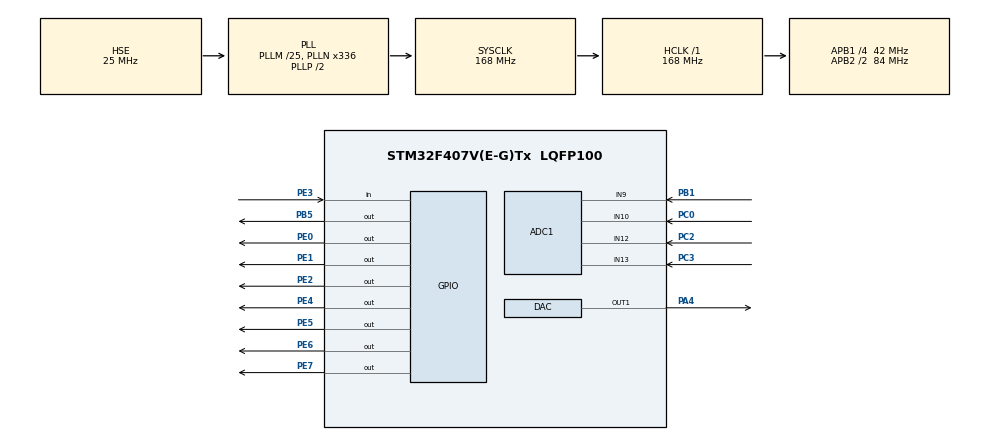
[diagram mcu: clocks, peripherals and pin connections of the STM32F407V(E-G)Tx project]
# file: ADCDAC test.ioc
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ADC1.Channel-0\#ChannelRegularConversion=ADC_CHANNEL_10
ADC1.Channel-1\#ChannelRegularConversion=ADC_CHANNEL_12
ADC1.Channel-2\#ChannelRegularConversion=ADC_CHANNEL_13
ADC1.Channel-3\#ChannelRegularConversion=ADC_CHANNEL_9
ADC1.ContinuousConvMode=ENABLE
ADC1.DMAContinuousRequests=ENABLE
ADC1.NbrOfConversion=4
ADC1.NbrOfConversionFlag=1
ADC1.Rank-0\#ChannelRegularConversion=1
ADC1.Rank-1\#ChannelRegularConversion=2
ADC1.Rank-2\#ChannelRegularConversion=3
ADC1.Rank-3\#ChannelRegularConversion=4
ADC1.SamplingTime-0\#ChannelRegularConversion=ADC_SAMPLETIME_84CYCLES
ADC1.SamplingTime-1\#ChannelRegularConversion=ADC_SAMPLETIME_84CYCLES
ADC1.SamplingTime-2\#ChannelRegularConversion=ADC_SAMPLETIME_84CYCLES
ADC1.SamplingTime-3\#ChannelRegularConversion=ADC_SAMPLETIME_84CYCLES
ADC1.ScanConvMode=ENABLE
ADC1.master=1
Dma.ADC1.0.Direction=DMA_PERIPH_TO_MEMORY
Dma.ADC1.0.FIFOMode=DMA_FIFOMODE_DISABLE
Dma.ADC1.0.Instance=DMA2_Stream0
Dma.ADC1.0.MemDataAlignment=DMA_MDATAALIGN_HALFWORD
Dma.ADC1.0.MemInc=DMA_MINC_ENABLE
Dma.ADC1.0.Mode=DMA_CIRCULAR
Dma.ADC1.0.PeriphDataAlignment=DMA_PDATAALIGN_HALFWORD
Dma.ADC1.0.PeriphInc=DMA_PINC_DISABLE
Dma.ADC1.0.Priority=DMA_PRIORITY_LOW
Dma.Request0=ADC1
Mcu.Family=STM32F4
Mcu.Name=STM32F407V(E-G)Tx
Mcu.Package=LQFP100
NVIC.DMA2_Stream0_IRQn=true\:0\:0\:false\:false\:true\:false\:true\:true
NVIC.PriorityGroup=NVIC_PRIORITYGROUP_4
PA4.Signal=COMP_DAC1_group
PB1.Signal=ADCx_IN9
PB5.Signal=GPIO_Output
PC0.Signal=ADCx_IN10
PC2.Signal=ADCx_IN12
PC3.Signal=ADCx_IN13
PE0.Signal=GPIO_Output
PE1.Signal=GPIO_Output
PE2.Signal=GPIO_Output
PE3.Signal=GPIO_Input
PE4.Signal=GPIO_Output
PE5.Signal=GPIO_Output
PE6.Signal=GPIO_Output
PE7.Signal=GPIO_Output
PH0-OSC_IN.Mode=HSE-External-Oscillator
PH0-OSC_IN.Signal=RCC_OSC_IN
PH1-OSC_OUT.Mode=HSE-External-Oscillator
PH1-OSC_OUT.Signal=RCC_OSC_OUT
ProjectManager.HeapSize=0x200
ProjectManager.StackSize=0x400
ProjectManager.TargetToolchain=STM32CubeIDE
RCC.48MHZClocksFreq_Value=84000000
RCC.AHBFreq_Value=168000000
RCC.APB1CLKDivider=RCC_HCLK_DIV4
RCC.APB1Freq_Value=42000000
RCC.APB1TimFreq_Value=84000000
RCC.APB2CLKDivider=RCC_HCLK_DIV2
RCC.APB2Freq_Value=84000000
RCC.APB2TimFreq_Value=168000000
RCC.CortexFreq_Value=168000000
RCC.HCLKFreq_Value=168000000
RCC.HSE_VALUE=25000000
RCC.HSI_VALUE=16000000
RCC.LSE_VALUE=32768
RCC.PLLM=25
RCC.PLLN=336
RCC.PLLSourceVirtual=RCC_PLLSOURCE_HSE
RCC.SYSCLKFreq_VALUE=168000000
RCC.SYSCLKSource=RCC_SYSCLKSOURCE_PLLCLK
RCC.VCOOutputFreq_Value=336000000
SH.ADCx_IN10.0=ADC1_IN10,IN10
SH.ADCx_IN12.0=ADC1_IN12,IN12
SH.ADCx_IN13.0=ADC1_IN13,IN13
SH.ADCx_IN9.0=ADC1_IN9,IN9
SH.COMP_DAC1_group.0=DAC_OUT1,DAC_OUT1
board=custom

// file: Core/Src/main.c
/* USER CODE BEGIN Header */
/**
  ******************************************************************************
  * @file           : main.c
  * @brief          : Main program body
  ******************************************************************************
  * @attention
  *
  * Copyright (c) 2023 STMicroelectronics.
  * All rights reserved.
  *
  * This software is licensed under terms that can be found in the LICENSE file
  * in the root directory of this software component.
  * If no LICENSE file comes with this software, it is provided AS-IS.
  *
  ******************************************************************************
  */
/* USER CODE END Header */
#include "main.h"
#include "adc.h"
#include "dac.h"
#include "dma.h"
#include "gpio.h"

/* USER CODE BEGIN Includes */
#include "CLCD.h"
/* USER CODE END Includes */

void SystemClock_Config(void);

int main(void)
{
  /* USER CODE BEGIN 1 */
	uint16_t adcval[4];
  /* USER CODE END 1 */

  /* MCU Configuration--------------------------------------------------------*/

  /* Reset of all peripherals, Initializes the Flash interface and the Systick. */
  HAL_Init();

  /* Configure the system clock */
  SystemClock_Config();

  /* Initialize all configured peripherals */
  MX_GPIO_Init();
  MX_DMA_Init();
  MX_ADC1_Init();
  MX_DAC_Init();
  /* USER CODE BEGIN 2 */
  CLCD_GPIO_Init();
  CLCD_Init();

  HAL_ADC_Start_DMA(&hadc1, &adcval[0], 4);
  CLCD_Clear();
  HAL_DAC_Start(&hdac, DAC_CHANNEL_1);
  /* USER CODE END 2 */

  /* Infinite loop */
  /* USER CODE BEGIN WHILE */
  uint16_t dacval = 0;
  uint8_t str[20];
  while (1)
  {
	  sprintf(str, "%4d  %4d", adcval[0], adcval[1]);
	  CLCD_Puts(0, 0, str);

	  sprintf(str, "%4d  %4d", adcval[2], adcval[3]);
	  CLCD_Puts(0, 1, str);
	  HAL_DAC_SetValue(&hdac, DAC_CHANNEL_1, DAC_ALIGN_12B_R, 2047);
	  dacval++;
	  if(dacval > 4095)
		  dacval =0;
    /* USER CODE END WHILE */

  }
}

void SystemClock_Config(void)
{
  RCC_OscInitTypeDef RCC_OscInitStruct = {0};
  RCC_ClkInitTypeDef RCC_ClkInitStruct = {0};

  /** Configure the main internal regulator output voltage
  */
  __HAL_RCC_PWR_CLK_ENABLE();
  __HAL_PWR_VOLTAGESCALING_CONFIG(PWR_REGULATOR_VOLTAGE_SCALE1);

  /** Initializes the RCC Oscillators according to the specified parameters
  * in the RCC_OscInitTypeDef structure.
  */
  RCC_OscInitStruct.OscillatorType = RCC_OSCILLATORTYPE_HSE;
  RCC_OscInitStruct.HSEState = RCC_HSE_ON;
  RCC_OscInitStruct.PLL.PLLState = RCC_PLL_ON;
  RCC_OscInitStruct.PLL.PLLSource = RCC_PLLSOURCE_HSE;
  RCC_OscInitStruct.PLL.PLLM = 25;
  RCC_OscInitStruct.PLL.PLLN = 336;
  RCC_OscInitStruct.PLL.PLLP = RCC_PLLP_DIV2;
  RCC_OscInitStruct.PLL.PLLQ = 4;
  if (HAL_RCC_OscConfig(&RCC_OscInitStruct) != HAL_OK)
  {
    Error_Handler();
  }

  /** Initializes the CPU, AHB and APB buses clocks
  */
  RCC_ClkInitStruct.ClockType = RCC_CLOCKTYPE_HCLK|RCC_CLOCKTYPE_SYSCLK
                              |RCC_CLOCKTYPE_PCLK1|RCC_CLOCKTYPE_PCLK2;
  RCC_ClkInitStruct.SYSCLKSource = RCC_SYSCLKSOURCE_PLLCLK;
  RCC_ClkInitStruct.AHBCLKDivider = RCC_SYSCLK_DIV1;
  RCC_ClkInitStruct.APB1CLKDivider = RCC_HCLK_DIV4;
  RCC_ClkInitStruct.APB2CLKDivider = RCC_HCLK_DIV2;

  if (HAL_RCC_ClockConfig(&RCC_ClkInitStruct, FLASH_LATENCY_5) != HAL_OK)
  {
    Error_Handler();
  }
}

void Error_Handler(void)
{
  __disable_irq();
  while (1)
  {
  }
}
